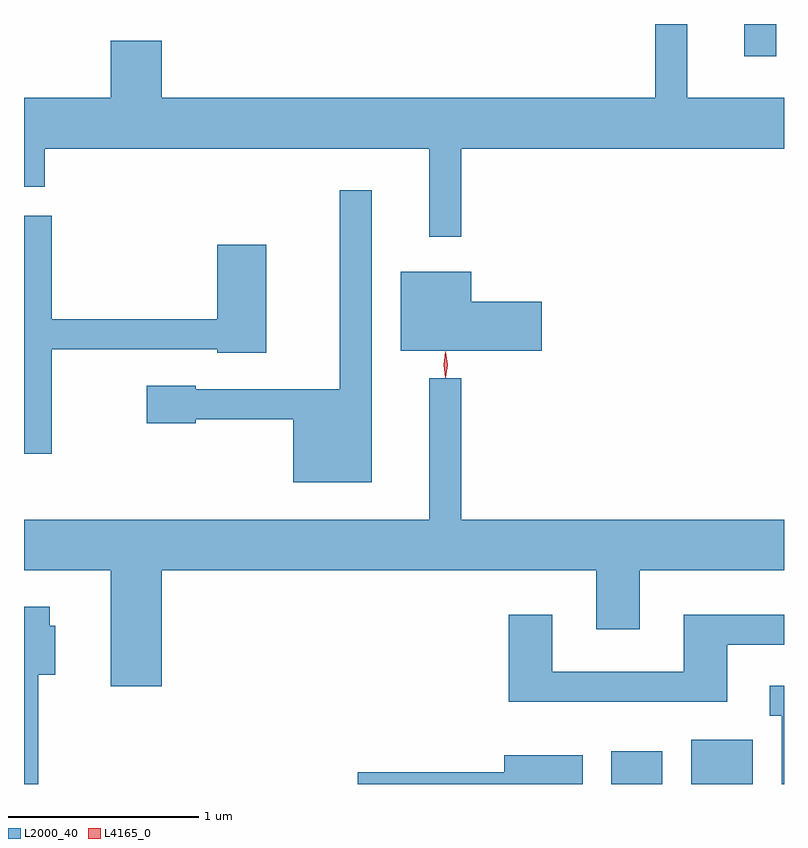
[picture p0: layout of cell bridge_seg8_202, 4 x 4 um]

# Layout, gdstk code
import gdstk
lib = gdstk.Library(unit=1e-6, precision=1e-09)
def R(c, l, rs):  # rectangles x0, y0, x1, y1
    for r in rs: c.add(gdstk.rectangle(r[:2], r[2:], *l))
def P(c, l, *ps):  # polygons
    for p in ps: c.add(gdstk.Polygon(p, *l))
L2000_40 = (2000, 40)
L4165_0 = (4165, 0)

bridge_seg8_202 = lib.new_cell('bridge_seg8_202')
R(bridge_seg8_202, L2000_40, [(1216.711,1904.112,1216.979,1904.284), (1217.131,1904.112,1217.454,1904.344), (1217.411,1907.943,1217.579,1908.112)])
P(bridge_seg8_202, L2000_40, [(1215.919,1907.456),(1217.619,1907.456),(1217.619,1907.724),(1217.109,1907.724),(1217.109,1908.112),(1216.941,1908.112),(1216.941,1907.724),(1214.344,1907.724),(1214.344,1908.024),(1214.076,1908.024),(1214.076,1907.724),(1213.619,1907.724),(1213.619,1907.256),(1213.729,1907.256),(1213.729,1907.456),(1215.751,1907.456),(1215.751,1906.993),(1215.919,1906.993)],
  [(1215.449,1907.238),(1215.281,1907.238),(1215.281,1906.189),(1214.524,1906.189),(1214.524,1906.209),(1214.266,1906.209),(1214.266,1906.011),(1214.524,1906.011),(1214.524,1906.031),(1215.036,1906.031),(1215.036,1905.701),(1215.449,1905.701)],
  [(1213.764,1906.401),(1214.636,1906.401),(1214.636,1906.381),(1214.894,1906.381),(1214.894,1906.949),(1214.636,1906.949),(1214.636,1906.559),(1213.764,1906.559),(1213.764,1907.104),(1213.619,1907.104),(1213.619,1905.851),(1213.764,1905.851)],
  [(1216.344,1906.649),(1215.974,1906.649),(1215.974,1906.809),(1215.601,1906.809),(1215.601,1906.391),(1216.344,1906.391)],
  [(1214.344,1905.236),(1216.631,1905.236),(1216.631,1904.926),(1216.859,1904.926),(1216.859,1905.236),(1217.619,1905.236),(1217.619,1905.504),(1215.919,1905.504),(1215.919,1906.248),(1215.751,1906.248),(1215.751,1905.504),(1213.619,1905.504),(1213.619,1905.236),(1214.076,1905.236),(1214.076,1904.626),(1214.344,1904.626)],
  [(1213.694,1904.686),(1213.784,1904.686),(1213.784,1904.944),(1213.754,1904.944),(1213.754,1905.044),(1213.619,1905.044),(1213.619,1904.112),(1213.694,1904.112)],
  [(1217.319,1904.846),(1217.619,1904.846),(1217.619,1905.004),(1217.091,1905.004),(1217.091,1904.704),(1216.399,1904.704),(1216.399,1905.004),(1216.171,1905.004),(1216.171,1904.546),(1217.319,1904.546)],
  [(1217.619,1904.629),(1217.543,1904.629),(1217.543,1904.471),(1217.606,1904.471),(1217.606,1904.112),(1217.619,1904.112)],
  [(1216.559,1904.264),(1216.146,1904.264),(1216.146,1904.174),(1215.376,1904.174),(1215.376,1904.112),(1216.559,1904.112)])
P(bridge_seg8_202, L4165_0, [(1215.837,1906.253),(1215.828,1906.316),(1215.837,1906.379),(1215.838,1906.38),(1215.838,1906.379),(1215.848,1906.316),(1215.838,1906.253),(1215.838,1906.253)],
  [(1215.837,1906.25),(1215.828,1906.318),(1215.837,1906.386),(1215.838,1906.386),(1215.838,1906.386),(1215.848,1906.318),(1215.838,1906.25),(1215.838,1906.25)])

lib.write_gds('bridge_seg8_202.gds')
